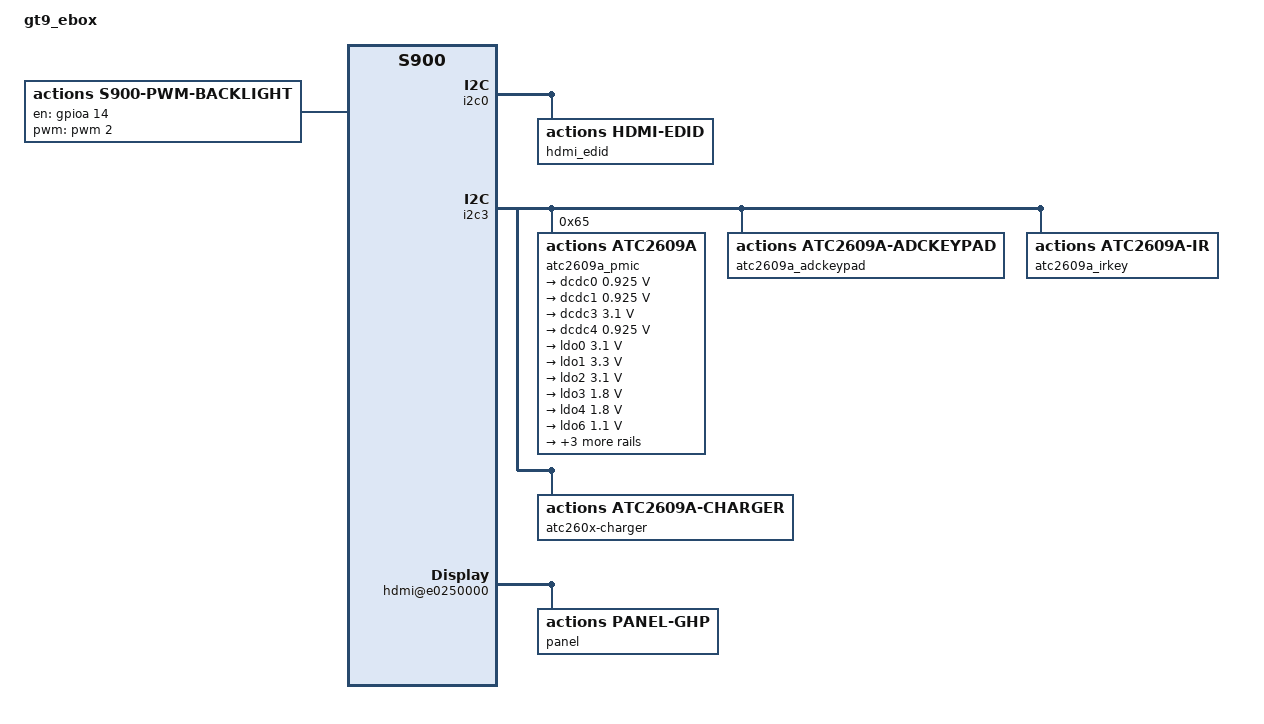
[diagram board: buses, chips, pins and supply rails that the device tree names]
/*
 * Copyright (c) 2015 Actions Semi Co., Ltd.
 *
 * SPDX-License-Identifier:	GPL-2.0+
 */

/dts-v1/;

#include "s900.dtsi"

/ {
	model = "gt9_ebox";
	compatible = "actions,gt9_ebox", "actions,s900";

	chosen {
		stdout-path = &serial5;
	};

	clock:e0160000 {
		compatible = "actions,owl-clk";
		core_pll = <1104>;
		dev_pll = <660>;
		display_pll = <1056>;
	};

	pwm: pwm@e01b0000 {
		pwm2 {
			id = <2>;
			mfp = <0>;
		};
	};

	i2c0: i2c@e0170000 {
		hdmi_edid {
			compatible = "actions,hdmi-edid";
		};
	};

	i2c3: i2c@e0176000 {
		atc2609a_pmic {
			compatible = "actions,atc2609a";
			reg = <0x65>;

			atc2609a_rtc {
					compatible = "actions,atc2609a-rtc";
			};

			atc2609a_pstore {
					compatible = "actions,atc2609a-pstore";
			};

			atc2609a_misc {
					compatible = "actions,atc2609a-misc";
			};

			atc2609a_auxadc {
					compatible = "actions,atc2609a-auxadc";
			};

			voltage-regulators {

			/* DCDC0       VDD_CORE
			 * DCDC1       VDD_CPU
			 * DCDC2       VDDR
			 * DCDC3       VCC
			 * DCDC4       VDD_CPUM
			 */
			dcdc0: dcdc0 {
				regulator-name = "dcdc0";
				regulator-min-microvolt = <925000>;
				regulator-max-microvolt = <925000>;
				regulator-always-on;
			};

			dcdc1: dcdc1 {
				regulator-name = "dcdc1";
				regulator-min-microvolt = <925000>;
				regulator-max-microvolt = <925000>;
				regulator-always-on;
			};

			dcdc3: dcdc3 {
				regulator-name = "dcdc3";
				regulator-min-microvolt = <3100000>;
				regulator-max-microvolt = <3100000>;
				regulator-always-on;
			};

			dcdc4: dcdc4 {
				regulator-name = "dcdc4";
				regulator-min-microvolt = <925000>;
				regulator-max-microvolt = <925000>;
				regulator-always-on;
			};

			/* LDO0        SD_VCC     
			 * LDO1        WIFI_3V3  
			 * LDO2        AVCC       
			 * LDO3        ATC2609_VDD   
			 * LDO4        AVCC_1V8   
			 * LDO6        AVDD_1V0   
			 * LDO7        UNUSED  
			 * LDO8        ETHERNET_3V3     
			 * LDO9        RTC_VDD     */

			ldo0: ldo0{
				regulator-name = "ldo0";
				regulator-min-microvolt  = <3100000>;
				regulator-max-microvolt = <3100000>;
				regulator-always-on;
			};

			ldo1: ldo1{
				regulator-name = "ldo1";
				regulator-min-microvolt  = <3300000>;
				regulator-max-microvolt = <3300000>;
			};

			ldo2: ldo2{
				regulator-name = "ldo2";
				regulator-min-microvolt  = <3100000>;
				regulator-max-microvolt = <3100000>;
				regulator-always-on;
			};

			ldo3: ldo3{
				regulator-name = "ldo3";
				regulator-min-microvolt  = <1800000>;
				regulator-max-microvolt = <1800000>;
				regulator-always-on;
			};

			ldo4: ldo4{
				regulator-name = "ldo4";
				regulator-min-microvolt  = <1800000>;
				regulator-max-microvolt = <1800000>;
				regulator-always-on;
			};


			ldo6: ldo6{
				regulator-name = "ldo6";
				regulator-min-microvolt  = <1100000>;
				regulator-max-microvolt = <1100000>;
				regulator-always-on;
			};

			ldo7: ldo7{
				regulator-name = "ldo7";
				regulator-min-microvolt  = <700000>;
				regulator-max-microvolt = <2200000>;
			};

			ldo8: ldo8{
				regulator-name = "ldo8";
				regulator-min-microvolt  = <3300000>;
				regulator-max-microvolt = <3300000>;
			};

			ldo9: ldo9{
				regulator-name = "ldo9";
				regulator-min-microvolt  = <2600000>;
				regulator-max-microvolt = <3300000>;
			};
			};
		};
		atc2609a_adckeypad {
			#define KEY_VOLUMEDOWN	114
			#define KEY_VOLUMEUP	115
			compatible = "actions,atc2609a-adckeypad";
			keymapsize = <2>;
			adc_channel_name = "AUX0";
			key_val = <KEY_VOLUMEUP KEY_VOLUMEDOWN>;
			left_adc_val =  <0 3300>;
			right_adc_val = <100 3700>;
		};
		atc2609a_irkey {
			compatible = "actions,atc2609a-ir";
			protocol = <1>; /* 0:9012 1:NEC8 2:RC5 */
			customer_code = <0x0dff40>;
			keymapsize = <45>;
			ir_code  =<0x0 0x01 0x02 0x03 0x04 0x05 0x06 0x07 0x08 0x09  0x0A  0x0B  0x0C  0x0D  0x0E  0x0F  0x10 0x11  0x12 0x13 0x14 0x15  0x16 0x17 0x18 0x19 0x1A  0x1B 0x1C  0x1D 0x1E 0x1F 0x40 0x41 0x42  0x43  0x44 0x45  0x46 0x47 0x4D  0x53 0x54  0x57 0x5B>;
			key_code =<11   2   3    4    5    6    7    8    9 	 10 	 100    103  126   353   108   52    105  106    14   60   63  115    80   61   65   76   172   78   114   97   79   75   77  81   158    113  65   139   64   71   116   72   175   82   73>;
		};
		atc260x-charger{
			compatible = "actions,atc2609a-charger";
			rsense = <20>;/*unit:mohm*/
			support_adaptor_type = <3>; /*1: DCIN  2: USB  3:DCIN+USB*/
		};
	};

	backlight {
		compatible = "actions,s900-pwm-backlight";

		/* GPIOA14, active high */
		en-gpios = <&gpioa 14 0>;

		/*1.pwm num; 2. period in ns; */
		/*3.plarity, 0: high active, 1: low active*/
		pwms = <&pwm 2 50000 0>;

		total_steps = <1024>;
		min_brightness = <100>;
		max_brightness = <1000>;
		dft_brightness = <500>;

		delay_bf_pwm = <0>; /*in ms*/
		delay_af_pwm = <200>; /*in ms*/
	};

	hdmi@e0250000 {
		hdcp_onoff = <0>;
		channel_invert = <0>;
		bit_invert = <0>;

		panel@ghp {
			compatible = "actions,panel-ghp";

			is_primary = <1>;
			hotplug_always_on = <1>;

			draw_width = <1920>;
			draw_height = <1080>;
		};
	};

	xhci@e0400000 {
		actions,vbus-gpio = <&gpiod 1 0>;  /* GPIOD1,  0:  high active ; 1: low active */
	};

};
